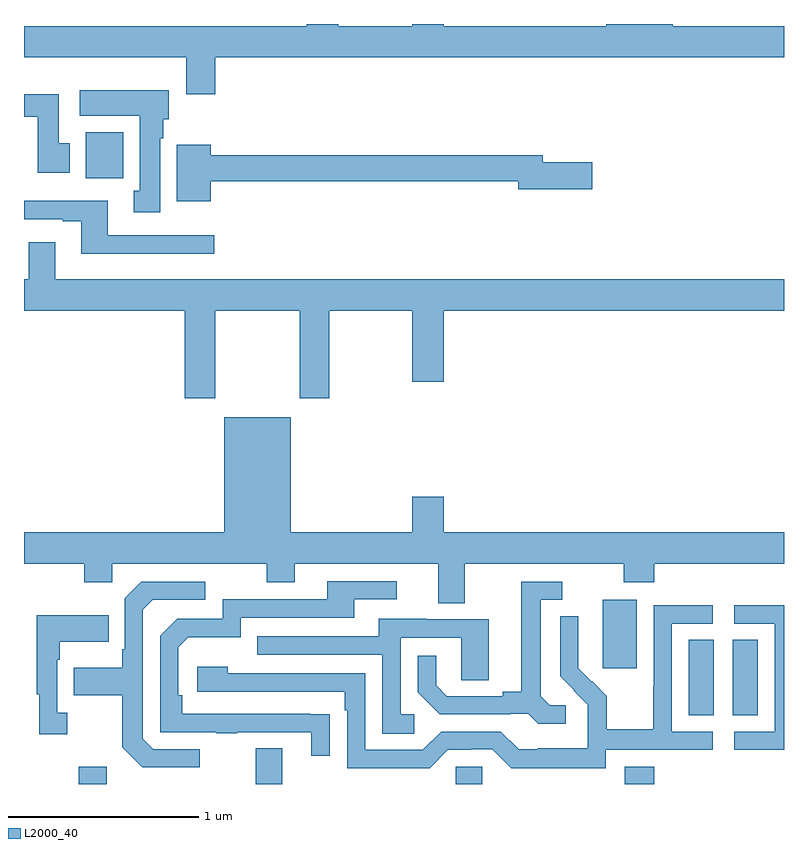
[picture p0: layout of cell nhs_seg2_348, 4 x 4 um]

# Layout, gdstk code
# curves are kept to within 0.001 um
import gdstk
lib = gdstk.Library(unit=1e-6, precision=1e-09)
def R(c, l, rs):  # rectangles x0, y0, x1, y1
    for r in rs: c.add(gdstk.rectangle(r[:2], r[2:], *l))
def P(c, l, *ps):  # polygons
    for p in ps: c.add(gdstk.Polygon(p, *l))
L2000_40 = (2000, 40)

nhs_seg2_348 = lib.new_cell('nhs_seg2_348')
R(nhs_seg2_348, L2000_40, [(127.288,655.8,127.435,655.891), (128.219,655.8,128.359,655.987), (129.273,655.8,129.411,655.89), (130.163,655.8,130.316,655.891), (130.499,656.161,130.63,656.558), (130.73,656.161,130.861,656.558), (130.046,656.409,130.225,656.77), (127.325,658.988,127.522,659.23)])
P(nhs_seg2_348, L2000_40, [(128.006,659.624),(131,659.624),(131,659.788),(130.414,659.788),(130.414,659.8),(130.064,659.8),(130.064,659.788),(129.208,659.788),(129.208,659.8),(129.044,659.8),(129.044,659.788),(128.653,659.788),(128.653,659.8),(128.489,659.8),(128.489,659.788),(127,659.788),(127,659.624),(127.853,659.624),(127.853,659.43),(128.006,659.43)],
  [(127.717,659.198),(127.732,659.198),(127.732,659.298),(127.762,659.298),(127.762,659.452),(127.293,659.452),(127.293,659.318),(127.61,659.318),(127.61,658.922),(127.577,658.922),(127.577,658.809),(127.717,658.809)],
  [(127.24,659.172),(127.183,659.172),(127.183,659.431),(127,659.431),(127,659.312),(127.073,659.312),(127.073,659.016),(127.24,659.016)],
  [(127.984,658.972),(129.602,658.972),(129.602,658.93),(129.991,658.93),(129.991,659.072),(129.73,659.072),(129.73,659.108),(127.984,659.108),(127.984,659.164),(127.805,659.164),(127.805,658.868),(127.984,658.868)],
  [(128.002,658.689),(127.441,658.689),(127.441,658.87),(127,658.87),(127,658.773),(127.205,658.773),(127.205,658.761),(127.301,658.761),(127.301,658.592),(128.002,658.592)],
  [(128.007,658.292),(128.452,658.292),(128.452,657.831),(128.607,657.831),(128.607,658.292),(129.044,658.292),(129.044,657.918),(129.208,657.918),(129.208,658.292),(131,658.292),(131,658.456),(127.165,658.456),(127.165,658.651),(127.025,658.651),(127.025,658.456),(127,658.456),(127,658.292),(127.847,658.292),(127.847,657.831),(128.007,657.831)],
  [(129.319,656.96),(130.156,656.96),(130.156,656.861),(130.316,656.861),(130.316,656.96),(131,656.96),(131,657.124),(129.208,657.124),(129.208,657.313),(129.044,657.313),(129.044,657.124),(128.404,657.124),(128.404,657.73),(128.054,657.73),(128.054,657.124),(127,657.124),(127,656.96),(127.318,656.96),(127.318,656.861),(127.464,656.861),(127.464,656.96),(128.278,656.96),(128.278,656.861),(128.425,656.861),(128.425,656.96),(129.179,656.96),(129.179,656.752),(129.319,656.752)],
  [(128.609,656.168),(127.832,656.169),(127.832,656.266),(127.812,656.266),(127.812,656.52),(127.865,656.573),(128.142,656.573),(128.142,656.676),(128.737,656.676),(128.737,656.772),(128.962,656.772),(128.962,656.868),(128.597,656.868),(128.597,656.772),(128.046,656.772),(128.046,656.67),(127.806,656.67),(127.716,656.58),(127.716,656.073),(128.011,656.073),(128.011,656.068),(128.123,656.068),(128.123,656.073),(128.513,656.073),(128.513,655.95),(128.609,655.95)],
  [(129.85,656.214),(129.768,656.214),(129.721,656.261),(129.721,656.769),(129.832,656.769),(129.832,656.865),(129.617,656.865),(129.617,656.285),(129.521,656.285),(129.521,656.262),(129.226,656.262),(129.169,656.319),(129.169,656.476),(129.072,656.476),(129.072,656.282),(129.188,656.166),(129.56,656.166),(129.56,656.169),(129.654,656.169),(129.706,656.117),(129.85,656.117)],
  [(127.924,655.983),(127.68,655.983),(127.626,656.037),(127.626,656.718),(127.677,656.769),(127.954,656.769),(127.954,656.865),(127.617,656.865),(127.53,656.778),(127.53,656.509),(127.518,656.509),(127.518,656.413),(127.261,656.413),(127.261,656.266),(127.518,656.266),(127.518,655.993),(127.623,655.887),(127.924,655.887)],
  [(130.062,655.98),(130.624,655.98),(130.624,656.076),(130.41,656.076),(130.41,656.643),(130.624,656.643),(130.624,656.742),(130.314,656.742),(130.314,656.312),(130.312,656.312),(130.312,656.089),(130.067,656.089),(130.067,656.263),(129.99,656.34),(129.987,656.337),(129.917,656.408),(129.918,656.684),(129.822,656.684),(129.822,656.366),(129.968,656.218),(129.968,656.121),(129.966,656.121),(129.966,655.987),(129.703,655.987),(129.703,655.983),(129.603,655.983),(129.51,656.076),(129.195,656.076),(129.099,655.98),(128.796,655.98),(128.796,656.382),(128.072,656.382),(128.072,656.416),(127.911,656.416),(127.911,656.286),(128.687,656.286),(128.687,656.189),(128.7,656.189),(128.7,655.884),(129.135,655.884),(129.231,655.98),(129.35,655.98),(129.35,655.983),(129.465,655.983),(129.565,655.883),(130.062,655.883)],
  [(131,656.742),(130.737,656.742),(130.737,656.643),(130.95,656.643),(130.95,656.076),(130.737,656.076),(130.737,655.98),(131,655.98)],
  [(127.228,656.174),(127.176,656.174),(127.176,656.453),(127.189,656.453),(127.189,656.549),(127.445,656.549),(127.445,656.689),(127.068,656.689),(127.068,656.273),(127.079,656.273),(127.079,656.061),(127.228,656.061)],
  [(129.055,656.166),(128.982,656.166),(128.982,656.571),(129.3,656.571),(129.3,656.347),(129.445,656.347),(129.445,656.667),(129.121,656.667),(129.121,656.671),(128.867,656.671),(128.867,656.577),(128.227,656.577),(128.227,656.481),(128.886,656.481),(128.886,656.065),(129.055,656.065)])

lib.write_gds('nhs_seg2_348.gds')
